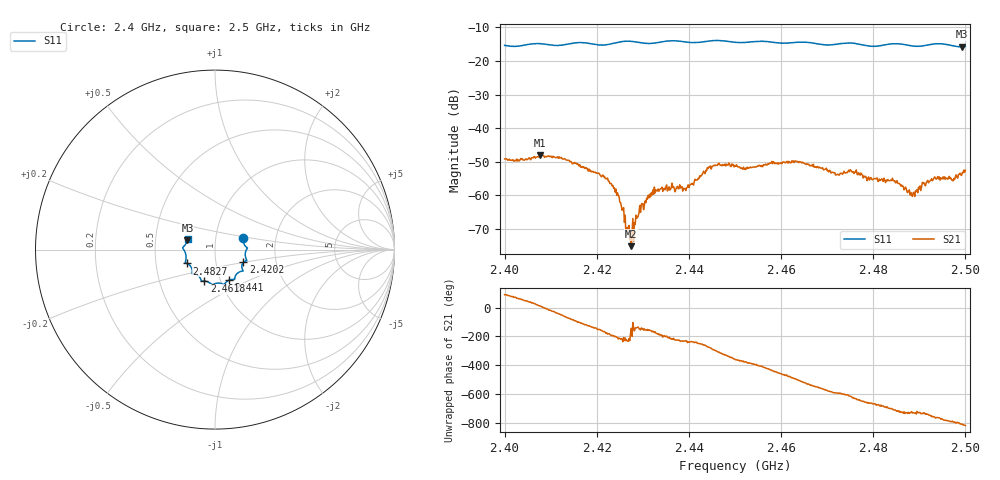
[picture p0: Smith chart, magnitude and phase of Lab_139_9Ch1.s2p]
# Hz S RI R 50
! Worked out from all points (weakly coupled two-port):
!   601 points, 2.4 GHz to 2.5 GHz, reference 50 ohm
!   highest |S21| = -48.02 dB at 2.4077 GHz (marker M1); lowest = -75.1 dB at 2.4275 GHz (marker M2)
!   lowest |S11| = -15.8 dB at 2.4993 GHz (marker M3), VSWR 1.39, Z = 36.5 + j3.85 ohm
!   |S11| at or under -10 dB: start of sweep to end of sweep
!   S12 and S22 are empty: the file has one direction only
!   S11 on the Smith chart (normalised r, x): 2.4 GHz: 1.36, +0.18; 2.4202 GHz: 1.36, -0.20; 2.441 GHz: 1.10, -0.39; 2.4618 GHz: 0.84, -0.30; 2.4827 GHz: 0.72, -0.12; 2.5 GHz: 0.73, +0.09
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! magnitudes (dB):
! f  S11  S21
! 2.4 GHz  -15.4  -49.2
! 2.4077 GHz  -14.9  -48.0
! 2.4167 GHz  -14.5  -51.4
! 2.4202 GHz  -15.2  -53.4
! 2.4243 GHz  -14.5  -60.0
! 2.4268 GHz  -14.1  -69.9
! 2.4275 GHz  -14.2  -75.1
! 2.4295 GHz  -14.6  -65.0
! 2.4333 GHz  -14.5  -58.1
! 2.4392 GHz  -14.3  -58.0
! 2.441 GHz  -14.6  -56.9
! 2.4445 GHz  -14.0  -51.7
! 2.45 GHz  -14.5  -51.1
! 2.4618 GHz  -14.6  -50.3
! 2.4667 GHz  -14.6  -51.0
! 2.4827 GHz  -15.2  -56.2
! 2.4833 GHz  -15.0  -55.6
! 2.4885 GHz  -15.6  -60.3
! 2.493 GHz  -15.0  -55.3
! 2.4972 GHz  -15.5  -55.5
! 2.4993 GHz  -15.8  -53.2
! 2.5 GHz  -15.7  -52.5
